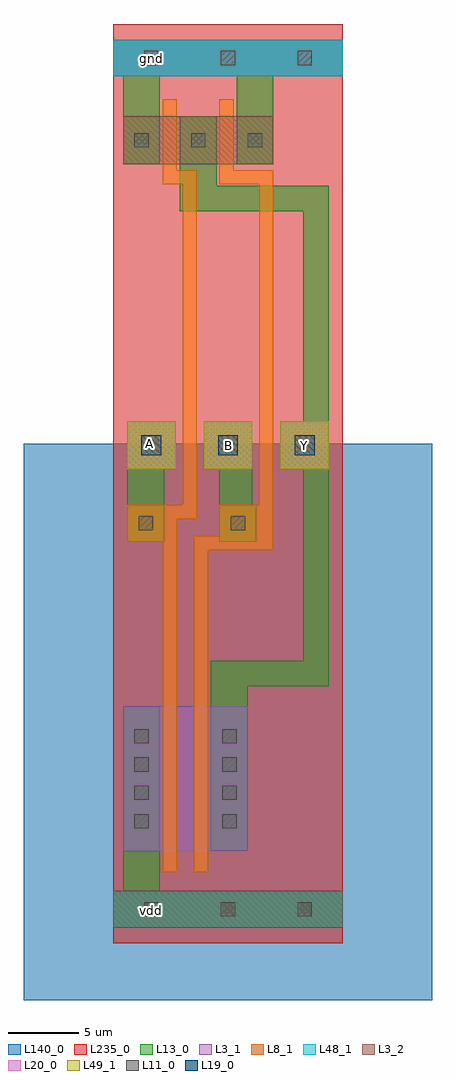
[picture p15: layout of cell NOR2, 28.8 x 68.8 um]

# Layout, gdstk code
import gdstk
lib = gdstk.Library(unit=1e-6, precision=1e-09)
def R(c, l, rs):  # rectangles x0, y0, x1, y1
    for r in rs: c.add(gdstk.rectangle(r[:2], r[2:], *l))
def A(c, l, x, y, w, h, nx, ny, dx, dy):  # array of equal rectangles
    R(c, l, [(x+i*dx, y+j*dy, x+i*dx+w, y+j*dy+h) for i in range(nx) for j in range(ny)])
def P(c, l, *ps):  # polygons
    for p in ps: c.add(gdstk.Polygon(p, *l))
L3_1 = (3, 1)
L3_2 = (3, 2)
L8_1 = (8, 1)
L11_0 = (11, 0)
L13_0 = (13, 0)
L19_0 = (19, 0)
L20_0 = (20, 0)
L48_1 = (48, 1)
L49_1 = (49, 1)
L140_0 = (140, 0)
L235_0 = (235, 0)

nor2 = lib.new_cell('NOR2')
R(nor2, L3_1, [(0.7,-58.3,9.5,-48.1), (0,-3.7,16.2,-1.1)])
R(nor2, L3_2, [(0,-63.7,16.2,-61.1), (0.7,-9.9,11.3,-6.5)])
P(nor2, L8_1, [(5.7,-59.8),(5.7,-36.1),(7.5,-36.1),(7.5,-33.9),(10.3,-33.9),(10.3,-11.3),(7.5,-11.3),(7.5,-5.3),(8.5,-5.3),(8.5,-10.3),(11.3,-10.3),(11.3,-37.1),(6.7,-37.1),(6.7,-59.8)],
  [(3.5,-59.8),(3.5,-36.5),(1,-36.5),(1,-33.9),(4.9,-33.9),(4.9,-11.3),(3.5,-11.3),(3.5,-5.3),(4.5,-5.3),(4.5,-10.3),(5.9,-10.3),(5.9,-34.9),(4.5,-34.9),(4.5,-59.8)])
A(nor2, L11_0, 1.5, -56.7, 1, 1, 1, 4, 0, 2)
A(nor2, L11_0, 7.7, -56.7, 1, 1, 1, 4, 0, 2)
A(nor2, L11_0, 1.5, -8.7, 1, 1, 3, 1, 4, 0)
R(nor2, L11_0, [(2.2,-62.9,3.2,-61.9), (2.2,-62.9,3.2,-61.9), (7.6,-62.9,8.6,-61.9), (7.6,-62.9,8.6,-61.9), (7.6,-62.9,8.6,-61.9), (7.6,-62.9,8.6,-61.9), (13,-62.9,14,-61.9), (1.8,-35.7,2.8,-34.7), (8.3,-35.7,9.3,-34.7), (2.2,-2.9,3.2,-1.9), (7.6,-2.9,8.6,-1.9), (7.6,-2.9,8.6,-1.9), (13,-2.9,14,-1.9)])
R(nor2, L13_0, [(0,-63.7,16.2,-61.1), (0.7,-61.1,3.3,-48.1), (1,-36.5,3.6,-31.4), (1,-31.4,4.4,-28), (1,-31.4,4.4,-28), (6.4,-31.4,9.8,-28), (6.4,-31.4,9.8,-28), (11.8,-31.4,15.2,-28), (0.7,-9.9,3.3,-3.7), (8.7,-9.9,11.3,-3.7), (0,-3.7,16.2,-1.1)])
P(nor2, L13_0, [(6.9,-58.3),(6.9,-44.9),(13.4,-44.9),(13.4,-31.4),(11.8,-31.4),(11.8,-28),(13.4,-28),(13.4,-13.2),(4.7,-13.2),(4.7,-6.5),(7.3,-6.5),(7.3,-11.4),(15.2,-11.4),(15.2,-46.7),(9.5,-46.7),(9.5,-58.3)],
  [(7.5,-36.5),(7.5,-31.4),(9.8,-31.4),(9.8,-33.9),(10.1,-33.9),(10.1,-36.5)])
A(nor2, L19_0, 2, -30.4, 1.4, 1.4, 3, 1, 5.4, 0)
A(nor2, L20_0, 1, -31.4, 3.4, 3.4, 3, 1, 5.4, 0)
R(nor2, L48_1, [(0,-63.7,16.2,-61.1), (0,-3.7,16.2,-1.1)])
A(nor2, L49_1, 1, -31.4, 3.4, 3.4, 3, 1, 5.4, 0)
R(nor2, L140_0, [(-6.3,-68.8,22.5,-29.6)])
R(nor2, L235_0, [(0,-64.8,16.2,0)])
nor2.add(gdstk.Label('gnd', (2.7,-2.4), layer=48, texttype=0))
nor2.add(gdstk.Label('vdd', (2.7,-62.5), layer=48, texttype=0))
nor2.add(gdstk.Label('A', (2.6,-29.6), layer=49, texttype=0))
nor2.add(gdstk.Label('Y', (13.5,-29.7), layer=49, texttype=0))
nor2.add(gdstk.Label('B', (8.1,-29.7), layer=49, texttype=0))

lib.write_gds('NOR2.gds')
